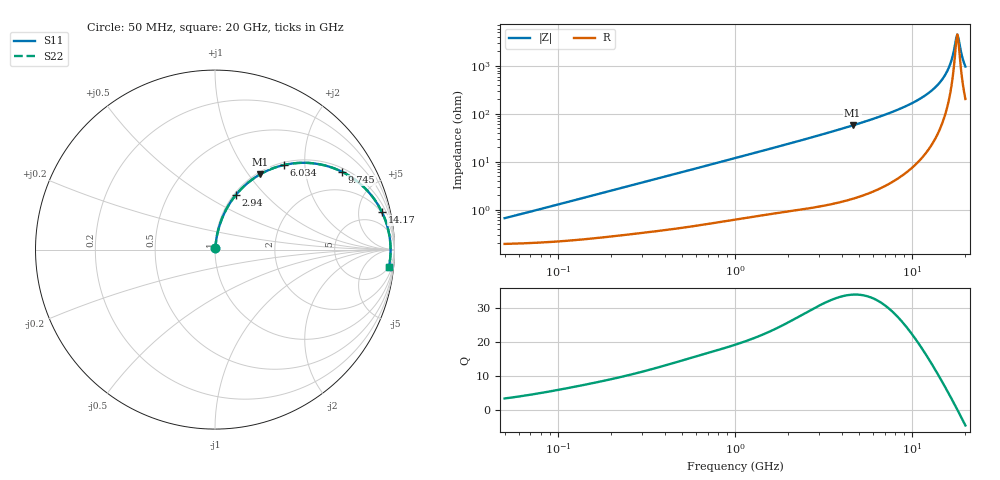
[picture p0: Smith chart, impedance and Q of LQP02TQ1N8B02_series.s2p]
!Murata Part Number: LQP02TQ1N8B02
!These Parameters are Measured in Series Mode Connection
!  o--[Z]--o
!Port1  Port2
!  o-------o
!Freq. Start=50[MHz] Stop=20[GHz], 401[Steps]
# Hz S RI R 50
!Freq.(Hz) S11(Real) S11(Imag) S21(Real) S21(Imag) S12(Real) S12(Imag) S22(Real) S22(Imag)
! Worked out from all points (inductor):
!   401 points, 50 MHz to 20 GHz, reference 50 ohm
!   read as one part in series: L = 2.03 nH near 51.52 MHz
!   highest Q = 33.9 at 4.608 GHz (marker M1), where L = 1.97 nH
!   self-resonance near 17.74 GHz
!   S11 on the Smith chart (normalised r, x): 50 MHz: 1.00, +0.01; 2.94 GHz: 1.02, +0.70; 6.034 GHz: 1.05, +1.57; 9.745 GHz: 1.14, +3.18; 14.17 GHz: 1.86, +8.51; 20 GHz: 5, -19
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5e7  0.00197 0.00636  0.998 -0.00636  0.998 -0.00636  0.00197 0.00636
1.364002e8  0.00268 0.0171  0.9973 -0.0171  0.9973 -0.0171  0.00268 0.0171
3.721004e8  0.00565 0.045  0.9944 -0.045  0.9944 -0.045  0.00565 0.045
1e9  0.0199 0.116  0.9801 -0.116  0.9801 -0.116  0.0199 0.116
2.728004e9  0.1033 0.2879  0.8967 -0.2879  0.8967 -0.2879  0.1033 0.2879
2.940159e9  0.1176 0.3061  0.8824 -0.3061  0.8824 -0.3061  0.1176 0.3061
4.608136e9  0.2521 0.4197  0.7479 -0.4197  0.7479 -0.4197  0.2521 0.4197
6.034176e9  0.3853 0.4716  0.6147 -0.4716  0.6147 -0.4716  0.3853 0.4716
7.442007e9  0.5176 0.4831  0.4824 -0.4831  0.4824 -0.4831  0.5176 0.4831
9.745021e9  0.7087 0.4331  0.2913 -0.4331  0.2913 -0.4331  0.7087 0.4331
1.201863e10  0.8471 0.3301  0.1529 -0.3301  0.1529 -0.3301  0.8471 0.3301
1.417136e10  0.9291 0.2111  0.0709 -0.2111  0.0709 -0.2111  0.9291 0.2111
1.504638e10  0.9501 0.1613  0.0499 -0.1613  0.0499 -0.1613  0.9501 0.1613
1.597544e10  0.9655 0.1089  0.0345 -0.1089  0.0345 -0.1089  0.9655 0.1089
1.670968e10  0.9732 0.0685  0.0268 -0.0685  0.0268 -0.0685  0.9732 0.0685
1.747767e10  0.9774 0.0275  0.0226 -0.0275  0.0226 -0.0275  0.9774 0.0275
1.774144e10  0.9781 0.0137  0.0219 -0.0137  0.0219 -0.0137  0.9781 0.0137
1.800918e10  0.9783 -8.48e-05  0.0217 8.48e-05  0.0217 8.48e-05  0.9783 -8.48e-05
1.828096e10  0.9782 -0.0139  0.0218 0.0139  0.0218 0.0139  0.9782 -0.0139
1.855685e10  0.9777 -0.0276  0.0223 0.0276  0.0223 0.0276  0.9777 -0.0276
1.940974e10  0.9737 -0.0688  0.0263 0.0688  0.0263 0.0688  0.9737 -0.0688
2e10  0.9692 -0.0959  0.0308 0.0959  0.0308 0.0959  0.9692 -0.0959
